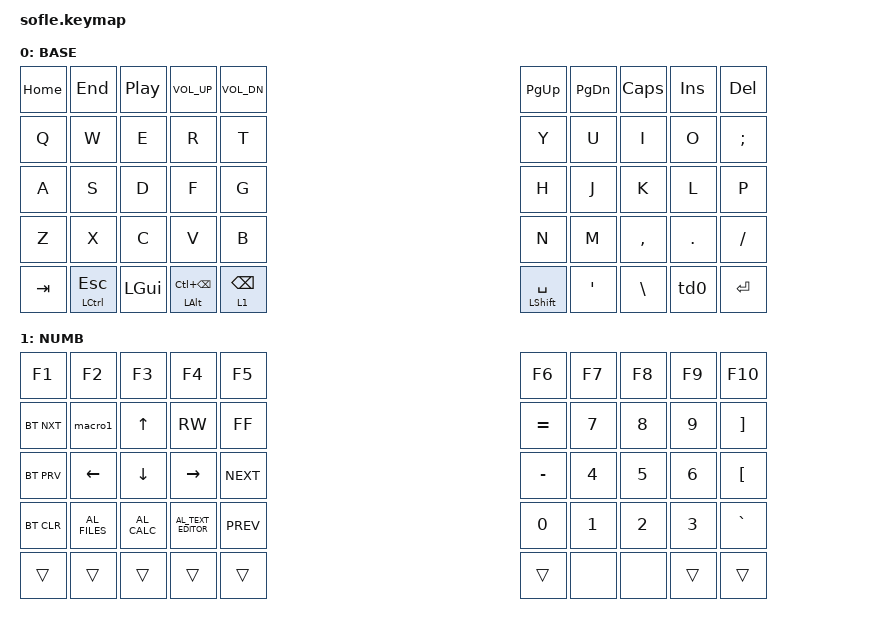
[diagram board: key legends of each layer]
#include <behaviors.dtsi>
#include <dt-bindings/zmk/keys.h>
#include <dt-bindings/zmk/bt.h>
#include <dt-bindings/zmk/outputs.h>
#include <dt-bindings/zmk/backlight.h>
#include <dt-bindings/zmk/pointing.h>

#undef ZMK_POINTING_DEFAULT_SCRL_VAL
#define ZMK_POINTING_DEFAULT_SCRL_VAL 30
#undef ZMK_POINTING_DEFAULT_MOVE_VAL
#define ZMK_POINTING_DEFAULT_MOVE_VAL 1500
#define BASE 0
#define NUMB 1
#define ADD0 2
#define ADD1 3
#define ADD2 4
#define ADD3 5
#define ADD4 6
#define ADD5 7
#define ADD6 8
#define ADD7 9
#define ADD8 10
#define ADD9 11

&lt {
    tapping-term-ms = <250>; // Only turn on layer if the key is held for 0.25 seconds or longer.
};
&mt {
    tapping-term-ms = <250>; // Only turn modifier if the key is held for 0.25 seconds or longer.
};

/ {
    behaviors {
        td0: layer_toggle {
            compatible = "zmk,behavior-tap-dance";
            #binding-cells = <0>;
            tapping-term-ms = <300>;
            bindings = <&to 0>, <&to 1>;
        };

    };

// For future desired tapdance behaviors, you can add up to three hold-tap and/or layer-tap 
// behaviors so a single key can have up to six functions (three taps and three holds).

    macros {
        macro1: toggle_hdr {
            compatible = "zmk,behavior-macro";
            #binding-cells = <0>;
            bindings
                = <&macro_press &kp LGUI>
                , <&macro_wait_time 50>
                , <&macro_press &kp LALT>
                , <&macro_wait_time 50>
                , <&macro_tap &kp B>
                , <&macro_release &kp LGUI>
                , <&macro_release &kp LALT>
                ;
        };
    };

    keymap {
        compatible = "zmk,keymap";

        base_layer {
            label = "BASE";
            bindings = <
// ╭───────────────┬───────────────┬───────────────┬───────────────┬───────────────╮    ╭───────────────┬───────────────┬───────────────┬───────────────┬───────────────╮
      &kp HOME        &kp END          &kp C_PP      &kp C_VOL_UP   &kp C_VOL_DN /*|    |*/  &kp PG_UP      &kp PG_DN        &kp CAPS        &kp INS        &kp DEL    
      &kp Q            &kp W           &kp E             &kp R           &kp T   /*|    |*/  &kp Y            &kp U           &kp I           &kp O         &kp SEMI     
      &kp A            &kp S           &kp D             &kp F           &kp G   /*|    |*/  &kp H            &kp J           &kp K           &kp L         &kp P        
      &kp Z            &kp X           &kp C             &kp V           &kp B   /*|    |*/  &kp N            &kp M           &kp COMMA       &kp DOT       &kp FSLH
      &kp TAB        &mt LCTRL ESC     &kp LGUI     &mt LALT LC(BSPC) &lt 1 BSPC /*|    |*/ &mt LSHIFT SPACE  &kp SQT         &kp BSLH        &td0          &kp ENTER
// ╰───────────────┴───────────────┴───────────────┴───────────────┴───────────────╯    ╰───────────────┴───────────────┴───────────────┴───────────────┴───────────────╯
            >;
        };

        numbers_layer {
            label = "NUMB";
            bindings = <
// ╭───────────────┬───────────────┬───────────────┬───────────────┬───────────────╮    ╭───────────────┬───────────────┬───────────────┬───────────────┬───────────────╮
       &kp F1          &kp F2          &kp F3          &kp F4          &kp F5    /*|    |*/  &kp F6           &kp F7          &kp F8          &kp F9        &kp F10
       &bt BT_NXT      &macro1         &kp UP          &kp C_RW        &kp C_FF  /*|    |*/  &kp EQUAL        &kp N7          &kp N8          &kp N9        &kp RBKT       
       &bt BT_PRV      &kp LEFT        &kp DOWN     &kp RIGHT         &kp C_NEXT /*|    |*/  &kp MINUS        &kp N4          &kp N5          &kp N6        &kp LBKT 
      &bt BT_CLR   &kp C_AL_FILES  &kp C_AL_CALC &kp C_AL_TEXT_EDITOR &kp C_PREV /*|    |*/   &kp N0          &kp N1          &kp N2          &kp N3        &kp GRAVE   
       &trans          &trans          &trans          &trans          &trans    /*|    |*/   &trans          &none           &none           &trans        &trans     
// ╰───────────────┴───────────────┴───────────────┴───────────────┴───────────────╯    ╰───────────────┴───────────────┴───────────────┴───────────────┴───────────────╯
            >;
        };
      additional0 {
            status = "reserved";
        };
      additional1 {
            status = "reserved";
        };
      additional2 {
            status = "reserved";
        };
      additional3 {
            status = "reserved";
        };
      additional4 {
            status = "reserved";
        };
      additional5 {
            status = "reserved";
        };
      additional6 {
            status = "reserved";
        };
      additional7 {
            status = "reserved";
        };
      additional8 {
            status = "reserved";
        };
      additional9 {
            status = "reserved";
        };
    };
};
